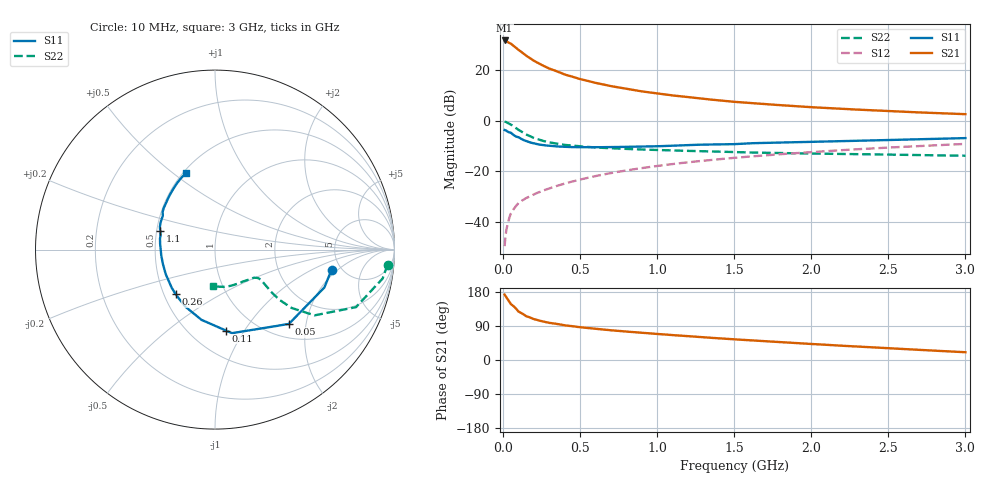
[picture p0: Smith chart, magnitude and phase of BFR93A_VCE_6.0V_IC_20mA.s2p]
! Infineon Technologies  Discrete & RF Semiconductors
! BFR93A
! VCE =  6.0 V,  IC =  20 mA
! Common Emitter S-Parameters:  Nov 2015
# GHz  S  MA  R  50
!  f  S11  S21  S12  S22
! GHz  MAG  ANG  MAG  ANG  MAG  ANG  MAG  ANG
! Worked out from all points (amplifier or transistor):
!   180 points, 10 MHz to 3 GHz, reference 50 ohm
!   highest |S21| = 31.8 dB at 10 MHz (marker M1)
!   |S21| within 3 dB of that: start of sweep to 84.97 MHz
!   unconditionally stable (mu >= 1): 446.7 MHz to 2.657 GHz
!   at 160 MHz: K = 0.68, MSG = 27.8 dB, |S12| = -30.3 dB
!   at 1.22 GHz: K = 1.07, MAG = 11.1 dB, |S12| = -16.3 dB
!   at 3 GHz: K = 0.98, MSG = 5.9 dB, |S12| = -9.1 dB
!   S11 on the Smith chart (normalised r, x): 10 MHz: 4.19, -1.65; 50 MHz: 1.27, -1.60; 110 MHz: 0.73, -0.83; 260 MHz: 0.58, -0.32; 1.1 GHz: 0.52, +0.12; 3 GHz: 0.52, +0.56
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0.01  0.6595 -9.7  39.11 172.5  0.0033 85.6  0.9652 -5.0
0.02  0.6449 -19.1  38.24 165.8  0.0065 80.5  0.9476 -9.8
0.05  0.5838 -45.2  33.9 147.9  0.0145 71.3  0.8485 -22.2
0.1  0.4751 -78.5  25.59 127.8  0.0236 63.6  0.664 -33.5
0.11  0.4549 -82.3  24.29 125.8  0.0248 63.2  0.6382 -34.1
0.15  0.3987 -100.8  19.48 115.5  0.0296 62.0  0.5358 -37.3
0.2  0.3588 -117.2  15.5 107.9  0.0351 62.8  0.4582 -37.9
0.24  0.3377 -127.1  13.31 103.5  0.0394 63.5  0.4179 -37.5
0.26  0.331 -131.5  12.39 101.5  0.0416 63.9  0.4012 -37.2
0.3  0.3216 -138.6  10.86 98.0  0.046 65.0  0.3749 -36.4
0.4  0.3067 -153.5  8.285 91.5  0.0573 67.0  0.3343 -34.7
0.5  0.3011 -164.7  6.718 86.4  0.0688 68.0  0.3123 -33.7
0.52  0.3006 -166.3  6.503 85.7  0.0712 68.1  0.3092 -33.6
0.6  0.3012 -172.8  5.655 82.3  0.0806 68.4  0.2969 -33.3
0.7  0.3023 -179.0  4.877 78.4  0.0926 68.3  0.2867 -33.6
0.84  0.3087 172.6  4.11 73.8  0.109 67.9  0.275 -34.7
1.02  0.3155 164.3  3.42 68.1  0.1302 66.8  0.2643 -36.9
1.1  0.3233 160.9  3.19 65.7  0.1396 66.3  0.26 -38.4
1.52  0.3486 146.6  2.358 54.0  0.1874 62.5  0.2401 -46.7
2.02  0.3855 133.1  1.852 41.9  0.243 57.4  0.2249 -59.5
2.52  0.419 121.8  1.55 30.7  0.2979 51.6  0.2143 -74.5
3  0.4558 110.7  1.357 20.5  0.3496 46.0  0.2045 -93.0
